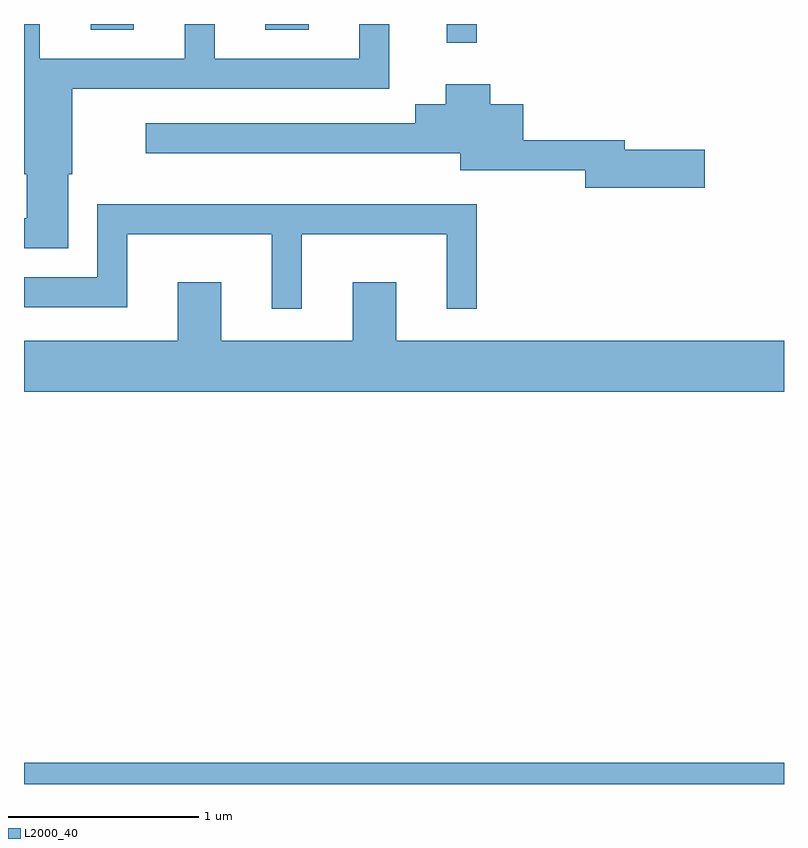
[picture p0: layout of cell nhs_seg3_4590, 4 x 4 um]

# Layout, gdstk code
import gdstk
lib = gdstk.Library(unit=1e-6, precision=1e-09)
def R(c, l, rs):  # rectangles x0, y0, x1, y1
    for r in rs: c.add(gdstk.rectangle(r[:2], r[2:], *l))
def P(c, l, *ps):  # polygons
    for p in ps: c.add(gdstk.Polygon(p, *l))
L2000_40 = (2000, 40)

nhs_seg3_4590 = lib.new_cell('nhs_seg3_4590')
R(nhs_seg3_4590, L2000_40, [(319.611,1183.892,323.611,1184.004), (321.836,1187.793,321.994,1187.892), (319.961,1187.861,320.189,1187.892), (320.881,1187.861,321.109,1187.892)])
P(nhs_seg3_4590, L2000_40, [(319.844,1187.101),(319.864,1187.101),(319.864,1187.551),(321.534,1187.551),(321.534,1187.892),(321.376,1187.892),(321.376,1187.709),(320.614,1187.709),(320.614,1187.892),(320.456,1187.892),(320.456,1187.709),(319.694,1187.709),(319.694,1187.892),(319.611,1187.892),(319.611,1187.101),(319.626,1187.101),(319.626,1186.869),(319.611,1186.869),(319.611,1186.711),(319.844,1186.711)],
  [(323.194,1187.229),(322.774,1187.229),(322.774,1187.279),(322.239,1187.279),(322.239,1187.469),(322.064,1187.469),(322.064,1187.574),(321.831,1187.574),(321.831,1187.469),(321.671,1187.469),(321.671,1187.369),(320.253,1187.369),(320.253,1187.211),(321.906,1187.211),(321.906,1187.121),(322.566,1187.121),(322.566,1187.031),(323.194,1187.031)],
  [(321.074,1186.786),(321.836,1186.786),(321.836,1186.393),(321.994,1186.393),(321.994,1186.944),(319.996,1186.944),(319.996,1186.559),(319.611,1186.559),(319.611,1186.401),(320.154,1186.401),(320.154,1186.786),(320.916,1186.786),(320.916,1186.393),(321.074,1186.393)],
  [(323.611,1186.224),(321.569,1186.224),(321.569,1186.534),(321.341,1186.534),(321.341,1186.224),(320.649,1186.224),(320.649,1186.534),(320.421,1186.534),(320.421,1186.224),(319.611,1186.224),(319.611,1185.956),(323.611,1185.956)])

lib.write_gds('nhs_seg3_4590.gds')
